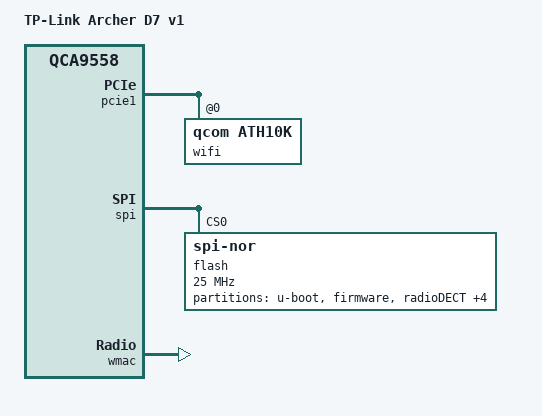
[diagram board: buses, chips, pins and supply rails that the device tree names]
// SPDX-License-Identifier: GPL-2.0-or-later OR MIT

#include "qca9558_tplink_archer-d7.dtsi"

/ {
	compatible = "tplink,archer-d7-v1", "qca,qca9558";
	model = "TP-Link Archer D7 v1";

	aliases {
		label-mac-device = &wmac;
	};
};

&pcie1 {
	wifi@0,0 {
		compatible = "qcom,ath10k";
		reg = <0x0000 0 0 0 0>;
		nvmem-cells = <&cal_art_5000>, <&macaddr_romfs_f100 2>;
		nvmem-cell-names = "calibration", "mac-address";
	};
};

&spi {
	status = "okay";

	flash@0 {
		compatible = "jedec,spi-nor";
		reg = <0>;
		spi-max-frequency = <25000000>;

		partitions {
			compatible = "fixed-partitions";
			#address-cells = <1>;
			#size-cells = <1>;

			partition@0 {
				label = "u-boot";
				reg = <0x000000 0x020000>;
				read-only;
			};

			partition@20000 {
				compatible = "tplink,firmware";
				label = "firmware";
				reg = <0x020000 0xf90000>;
			};

			partition@fb0000 {
				label = "radioDECT";
				reg = <0xfb0000 0x010000>;
				read-only;
			};

			partition@fc0000 {
				label = "config";
				reg = <0xfc0000 0x010000>;
				read-only;
			};

			partition@fd0000 {
				label = "romfs";
				reg = <0xfd0000 0x010000>;
				read-only;

				nvmem-layout {
					compatible = "fixed-layout";
					#address-cells = <1>;
					#size-cells = <1>;

					macaddr_romfs_f100: macaddr@f100 {
						compatible = "mac-base";
						reg = <0xf100 0x6>;
						#nvmem-cell-cells = <1>;
					};
				};
			};

			partition@fe0000 {
				label = "rom";
				reg = <0xfe0000 0x010000>;
				read-only;
			};

			partition@ff0000 {
				label = "art";
				reg = <0xff0000 0x010000>;
				read-only;

				nvmem-layout {
					compatible = "fixed-layout";
					#address-cells = <1>;
					#size-cells = <1>;

					cal_art_1000: calibration@1000 {
						reg = <0x1000 0x440>;
					};

					cal_art_5000: calibration@5000 {
						reg = <0x5000 0x844>;
					};
				};
			};
		};
	};
};

&eth0 {
	nvmem-cells = <&macaddr_romfs_f100 1>;
	nvmem-cell-names = "mac-address";
};

&eth1 {
	nvmem-cells = <&macaddr_romfs_f100 0>;
	nvmem-cell-names = "mac-address";
};

&wmac {
	nvmem-cells = <&macaddr_romfs_f100 0>, <&cal_art_1000>;
	nvmem-cell-names = "mac-address", "calibration";
};
